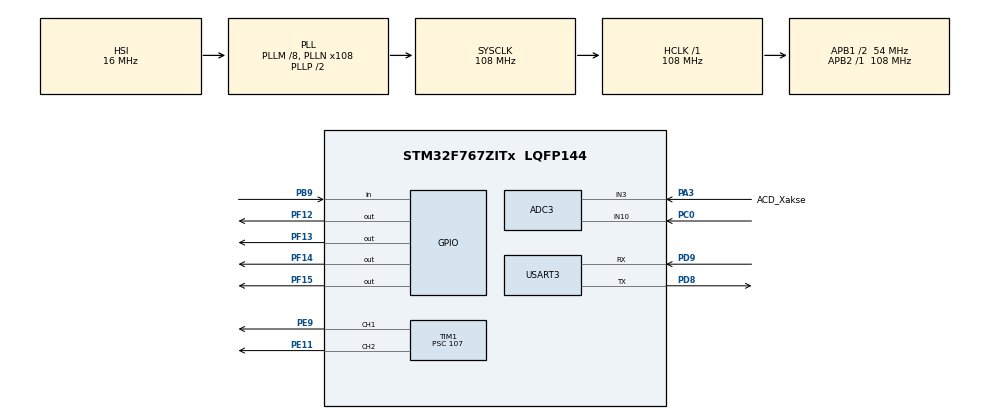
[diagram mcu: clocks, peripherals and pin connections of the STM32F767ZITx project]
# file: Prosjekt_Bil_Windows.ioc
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ADC3.Channel-0\#ChannelRegularConversion=ADC_CHANNEL_10
ADC3.Channel-1\#ChannelRegularConversion=ADC_CHANNEL_3
ADC3.NbrOfConversion=2
ADC3.NbrOfConversionFlag=1
ADC3.Rank-0\#ChannelRegularConversion=1
ADC3.Rank-1\#ChannelRegularConversion=2
ADC3.SamplingTime-0\#ChannelRegularConversion=ADC_SAMPLETIME_56CYCLES
ADC3.SamplingTime-1\#ChannelRegularConversion=ADC_SAMPLETIME_56CYCLES
ADC3.ScanConvMode=ADC_SCAN_ENABLE
Mcu.Family=STM32F7
Mcu.Name=STM32F767ZITx
Mcu.Package=LQFP144
NVIC.PriorityGroup=NVIC_PRIORITYGROUP_4
PA3.GPIO_Label=ACD_Xakse
PA3.Signal=ADCx_IN3
PB9.Signal=GPIO_Input
PC0.Signal=ADCx_IN10
PD8.Mode=Asynchronous
PD8.Signal=USART3_TX
PD9.Mode=Asynchronous
PD9.Signal=USART3_RX
PE11.Signal=S_TIM1_CH2
PE9.Signal=S_TIM1_CH1
PF12.Signal=GPIO_Output
PF13.Signal=GPIO_Output
PF14.Signal=GPIO_Output
PF15.Signal=GPIO_Output
PH0/OSC_IN.Mode=HSE-External-Oscillator
PH0/OSC_IN.Signal=RCC_OSC_IN
PH1/OSC_OUT.Mode=HSE-External-Oscillator
PH1/OSC_OUT.Signal=RCC_OSC_OUT
ProjectManager.HeapSize=0x200
ProjectManager.StackSize=0x400
ProjectManager.TargetToolchain=STM32CubeIDE
RCC.48MHZClocksFreq_Value=24000000
RCC.AHBFreq_Value=108000000
RCC.APB1CLKDivider=RCC_HCLK_DIV2
RCC.APB1Freq_Value=54000000
RCC.APB1TimFreq_Value=108000000
RCC.APB2Freq_Value=108000000
RCC.APB2TimFreq_Value=108000000
RCC.CortexFreq_Value=108000000
RCC.HCLKFreq_Value=108000000
RCC.HSE_VALUE=8000000
RCC.HSI_VALUE=16000000
RCC.LSE_VALUE=32768
RCC.PLLM=8
RCC.PLLMUL=RCC_PLL_MUL9
RCC.PLLN=108
RCC.PRESCALERUSB=RCC_USBCLKSOURCE_PLL_DIV1_5
RCC.SYSCLKFreq_VALUE=108000000
RCC.SYSCLKSource=RCC_SYSCLKSOURCE_PLLCLK
RCC.SYSCLKSourceVirtual=RCC_SYSCLKSOURCE_PLLCLK
RCC.USBFreq_Value=108000000
RCC.VCOOutputFreq_Value=216000000
SH.ADCx_IN10.0=ADC3_IN10,IN10
SH.ADCx_IN3.0=ADC3_IN3,IN3
SH.S_TIM1_CH1.0=TIM1_CH1,PWM Generation1 CH1
SH.S_TIM1_CH2.0=TIM1_CH2,PWM Generation2 CH2
TIM1.Channel-PWM\ Generation1\ CH1=TIM_CHANNEL_1
TIM1.Channel-PWM\ Generation2\ CH2=TIM_CHANNEL_2
TIM1.Period=19999
TIM1.Prescaler=107
USART3.VirtualMode-Asynchronous=VM_ASYNC
VP_TIM1_VS_ClockSourceINT.Mode=Internal
board=NUCLEO-F767ZI

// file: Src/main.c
/* USER CODE BEGIN Header */
/**
  ******************************************************************************
  * @file           : main.c
  * @brief          : Main program body
  ******************************************************************************
  * @attention
  *
  * Copyright (c) 2026 STMicroelectronics.
  * All rights reserved.
  *
  * This software is licensed under terms that can be found in the LICENSE file
  * in the root directory of this software component.
  * If no LICENSE file comes with this software, it is provided AS-IS.
  *
  ******************************************************************************
  */
/* USER CODE END Header */
#include "main.h"

/* USER CODE BEGIN PTD */

typedef enum {
 MOTOR_STATE_STOP = 0, // Explicitly set to 0
 MOTOR_STATE_FORWARD,       // Defaults to 1
 MOTOR_STATE_BACKWARD       // Defaults to 2
  } MotorState_t;

/* USER CODE END PTD */

/* USER CODE BEGIN PD */

  #define ADC_MAX_VALUE       4095   // 12|-bit ADC has a max value of 4095
  #define PWM_PERIOD_VALUE    19999     // TIM1 ARR is set to 19999
  #define MAX_DUTY 50000

/* USER CODE END PD */

ADC_HandleTypeDef hadc3;

TIM_HandleTypeDef htim1;

UART_HandleTypeDef huart3;

/* USER CODE BEGIN PV */

  uint16_t adc_value_yakse = 0;
  uint16_t adc_value_xakse = 0;
  int32_t x = 0;
  int32_t y = 0;
  int32_t turn = 0;
  uint32_t base_speed = 25000; // Base speed for the motors, can be adjusted as needed

  MotorState_t current_motor_state = MOTOR_STATE_STOP; // Initial state

/* USER CODE END PV */

void SystemClock_Config(void);
static void MX_GPIO_Init(void);
static void MX_USART3_UART_Init(void);
static void MX_ADC3_Init(void);
static void MX_TIM1_Init(void);
static void Set_Motor(GPIO_TypeDef *port, uint16_t pin_fram, uint16_t pin_tilbake, uint32_t pwm_channel, int32_t verdi);

int main(void)
{

  /* MCU Configuration--------------------------------------------------------*/

  /* Reset of all peripherals, Initializes the Flash interface and the Systick. */
  HAL_Init();

  /* Configure the system clock */
  SystemClock_Config();

  /* Initialize all configured peripherals */
  MX_GPIO_Init();
  MX_USART3_UART_Init();
  MX_ADC3_Init();
  MX_TIM1_Init();
  /* USER CODE BEGIN 2 */

  HAL_TIM_PWM_Start(&htim1, TIM_CHANNEL_1); //Output til venstre
  HAL_TIM_PWM_Start(&htim1, TIM_CHANNEL_2); //Output til høyre

  /* USER CODE END 2 */

  /* Infinite loop */
  /* USER CODE BEGIN WHILE */
  while (1)
  {

   /*
      Tanken her er at potensiometer Joy-sticken gir to ulike ADC verdier, en for X-aksen og en for Y-aksen. Disse verdiene kan brukes til å styre PWM signalene som går til motorene.
      Potensiometeret vil gi en verdi mellom 0 og 4095 (Hvis det er en 12 bit ADC):
      Verdier over 2048 (I x-aksen) vil derfor gi en fremover bevegelse, og under vil gi en bakoverbevegelse.
      For å få en smooth overgang mellom fremover og bakover, kan man bruke en "deadzone" rundt midtpunktet (2048). Dette betyr at hvis verdien er mellom 1900 og 2200, vil motorene ikke bevege seg
      For å regne ut svinging ser man på y-akse ADC verdien. Hvis denne er over 2048, vil roboten svinge til høyre, og under 2048 vil den svinge til venstre. Igjen kan man bruke en deadzone for å unngå små bevegelser.

      Dette vil regnes ut med å ha en relativ hastighet basert på y-aksen på hvert hjul.
      For simplisitetens skyld, har man en konstant hastighet ved fremover/bakover, og så justerer man hastigheten på hvert hjul basert på y-aksen. Dette kan gjøres med en enkel formel:
      left_motor_speed = base_speed + (y_value - 2048) / 2048

    */
    /* USER CODE END WHILE */

    /* USER CODE BEGIN 3 */

    HAL_ADC_Start(&hadc3);

    HAL_ADC_PollForConversion(&hadc3, HAL_MAX_DELAY);
    adc_value_yakse = HAL_ADC_GetValue(&hadc3);

    HAL_ADC_PollForConversion(&hadc3, HAL_MAX_DELAY);
    adc_value_xakse = HAL_ADC_GetValue(&hadc3);

    //Setter Midt på joysticken som midtepunkt for PWM signalene
    x = adc_value_xakse - 2048;
    y = adc_value_yakse - 2048;

    turn = adc_value_yakse - 2048;

    int32_t fram = x;
    int32_t sving = y;

    //Dead zone
    if (fram > -200 && fram < 200) fram = 0;
    if (sving > -200 && sving < 200) sving = 0;

    int32_t venstre = fram + sving;
    int32_t hoyre = fram - sving;

    Set_Motor(GPIOF, GPIO_PIN_13, GPIO_PIN_12, TIM_CHANNEL_1, venstre);
    Set_Motor(GPIOF, GPIO_PIN_14, GPIO_PIN_15, TIM_CHANNEL_2, hoyre);

    /*switch(current_motor_state){

      //PF13 => venstre retning 1
      //PF12 => venstre retning 2
      //PF14 => høyre retning 1
      //PF15 => høyre retning 2

      //Retning 1 => fremover, Retning 2 => bakover

      case MOTOR_STATE_STOP:

       if( x > 200){

             current_motor_state = MOTOR_STATE_FORWARD; // Change to forward state
           } else if (x < -200){
             current_motor_state = MOTOR_STATE_BACKWARD; // Change to backward state
           }
           break;

        HAL_GPIO_WritePin(GPIOF, GPIO_PIN_13, GPIO_PIN_RESET);
        HAL_GPIO_WritePin(GPIOF, GPIO_PIN_12, GPIO_PIN_RESET);
        HAL_GPIO_WritePin(GPIOF, GPIO_PIN_14, GPIO_PIN_RESET);
        HAL_GPIO_WritePin(GPIOF, GPIO_PIN_15, GPIO_PIN_RESET);

        __HAL_TIM_SET_COMPARE(&htim1, TIM_CHANNEL_1, 0);
        __HAL_TIM_SET_COMPARE(&htim1, TIM_CHANNEL_2, 0);
        break;

      case MOTOR_STATE_FORWARD:

        //Fremover med svinging til høyre
        if( x > 200 && y > 200){

          HAL_GPIO_WritePin(GPIOF, GPIO_PIN_13, GPIO_PIN_SET);
          HAL_GPIO_WritePin(GPIOF, GPIO_PIN_12, GPIO_PIN_RESET);
          HAL_GPIO_WritePin(GPIOF, GPIO_PIN_14, GPIO_PIN_SET);
          HAL_GPIO_WritePin(GPIOF, GPIO_PIN_15, GPIO_PIN_RESET);

          __HAL_TIM_SET_COMPARE(&htim1, TIM_CHANNEL_1, base_speed + turn); // Venstre hjul
          __HAL_TIM_SET_COMPARE(&htim1, TIM_CHANNEL_2, base_speed - turn); // Høyre hjul

        }

        //fremover med svinging til venstre
        else if (x > 200 && y < -200){
          HAL_GPIO_WritePin(GPIOF, GPIO_PIN_13, GPIO_PIN_SET);
          HAL_GPIO_WritePin(GPIOF, GPIO_PIN_12, GPIO_PIN_RESET);
          HAL_GPIO_WritePin(GPIOF, GPIO_PIN_14, GPIO_PIN_SET);
          HAL_GPIO_WritePin(GPIOF, GPIO_PIN_15, GPIO_PIN_RESET);

          __HAL_TIM_SET_COMPARE(&htim1, TIM_CHANNEL_1, base_speed - turn); // Venstre hjul
          __HAL_TIM_SET_COMPARE(&htim1, TIM_CHANNEL_2, base_speed + turn); // Høyre hjul
        }

        //Fremover uten svinging
        else if (x > 200 && y <= 200 && y >= -200){
          HAL_GPIO_WritePin(GPIOF, GPIO_PIN_13, GPIO_PIN_SET);
          HAL_GPIO_WritePin(GPIOF, GPIO_PIN_12, GPIO_PIN_RESET);
          HAL_GPIO_WritePin(GPIOF, GPIO_PIN_14, GPIO_PIN_SET);
          HAL_GPIO_WritePin(GPIOF, GPIO_PIN_15, GPIO_PIN_RESET);

          __HAL_TIM_SET_COMPARE(&htim1, TIM_CHANNEL_1, base_speed ); // Venstre hjul
          __HAL_TIM_SET_COMPARE(&htim1, TIM_CHANNEL_2, base_speed ); // Høyre hjul
        }

       else if (x < 200 && y < 200 && x > -200 && y > -200){
        current_motor_state = MOTOR_STATE_STOP;
        break;
       }

      break;

      case MOTOR_STATE_BACKWARD:

        if (x < 200 && y < 200 && x > -200 && y > -200){
         current_motor_state = MOTOR_STATE_STOP;
         break;
        }

        HAL_GPIO_WritePin(GPIOF, GPIO_PIN_13, GPIO_PIN_RESET);
        HAL_GPIO_WritePin(GPIOF, GPIO_PIN_12, GPIO_PIN_SET);
        HAL_GPIO_WritePin(GPIOF, GPIO_PIN_14, GPIO_PIN_RESET);
        HAL_GPIO_WritePin(GPIOF, GPIO_PIN_15, GPIO_PIN_SET);

        __HAL_TIM_SET_COMPARE(&htim1, TIM_CHANNEL_1, base_speed ); // Venstre hjul
        __HAL_TIM_SET_COMPARE(&htim1, TIM_CHANNEL_2, base_speed ); // Høyre hjul
      break;

    }*/
  }

  /* USER CODE END 3 */
}

void SystemClock_Config(void)
{
  RCC_OscInitTypeDef RCC_OscInitStruct = {0};
  RCC_ClkInitTypeDef RCC_ClkInitStruct = {0};

  /** Configure the main internal regulator output voltage
  */
  __HAL_RCC_PWR_CLK_ENABLE();
  __HAL_PWR_VOLTAGESCALING_CONFIG(PWR_REGULATOR_VOLTAGE_SCALE3);

  /** Initializes the RCC Oscillators according to the specified parameters
  * in the RCC_OscInitTypeDef structure.
  */
  RCC_OscInitStruct.OscillatorType = RCC_OSCILLATORTYPE_HSI;
  RCC_OscInitStruct.HSIState = RCC_HSI_ON;
  RCC_OscInitStruct.HSICalibrationValue = RCC_HSICALIBRATION_DEFAULT;
  RCC_OscInitStruct.PLL.PLLState = RCC_PLL_ON;
  RCC_OscInitStruct.PLL.PLLSource = RCC_PLLSOURCE_HSI;
  RCC_OscInitStruct.PLL.PLLM = 8;
  RCC_OscInitStruct.PLL.PLLN = 108;
  RCC_OscInitStruct.PLL.PLLP = RCC_PLLP_DIV2;
  RCC_OscInitStruct.PLL.PLLQ = 2;
  RCC_OscInitStruct.PLL.PLLR = 2;
  if (HAL_RCC_OscConfig(&RCC_OscInitStruct) != HAL_OK)
  {
    Error_Handler();
  }

  /** Activate the Over-Drive mode
  */
  if (HAL_PWREx_EnableOverDrive() != HAL_OK)
  {
    Error_Handler();
  }

  /** Initializes the CPU, AHB and APB buses clocks
  */
  RCC_ClkInitStruct.ClockType = RCC_CLOCKTYPE_HCLK|RCC_CLOCKTYPE_SYSCLK
                              |RCC_CLOCKTYPE_PCLK1|RCC_CLOCKTYPE_PCLK2;
  RCC_ClkInitStruct.SYSCLKSource = RCC_SYSCLKSOURCE_PLLCLK;
  RCC_ClkInitStruct.AHBCLKDivider = RCC_SYSCLK_DIV1;
  RCC_ClkInitStruct.APB1CLKDivider = RCC_HCLK_DIV2;
  RCC_ClkInitStruct.APB2CLKDivider = RCC_HCLK_DIV1;

  if (HAL_RCC_ClockConfig(&RCC_ClkInitStruct, FLASH_LATENCY_3) != HAL_OK)
  {
    Error_Handler();
  }
}

static void MX_ADC3_Init(void)
{

  ADC_ChannelConfTypeDef sConfig = {0};

  /** Configure the global features of the ADC (Clock, Resolution, Data Alignment and number of conversion)
  */
  hadc3.Instance = ADC3;
  hadc3.Init.ClockPrescaler = ADC_CLOCK_SYNC_PCLK_DIV4;
  hadc3.Init.Resolution = ADC_RESOLUTION_12B;
  hadc3.Init.ScanConvMode = ADC_SCAN_ENABLE;
  hadc3.Init.ContinuousConvMode = DISABLE;
  hadc3.Init.DiscontinuousConvMode = DISABLE;
  hadc3.Init.ExternalTrigConvEdge = ADC_EXTERNALTRIGCONVEDGE_NONE;
  hadc3.Init.ExternalTrigConv = ADC_SOFTWARE_START;
  hadc3.Init.DataAlign = ADC_DATAALIGN_RIGHT;
  hadc3.Init.NbrOfConversion = 2;
  hadc3.Init.DMAContinuousRequests = DISABLE;
  hadc3.Init.EOCSelection = ADC_EOC_SINGLE_CONV;
  if (HAL_ADC_Init(&hadc3) != HAL_OK)
  {
    Error_Handler();
  }

  /** Configure for the selected ADC regular channel its corresponding rank in the sequencer and its sample time.
  */
  sConfig.Channel = ADC_CHANNEL_10;
  sConfig.Rank = ADC_REGULAR_RANK_1;
  sConfig.SamplingTime = ADC_SAMPLETIME_56CYCLES;
  if (HAL_ADC_ConfigChannel(&hadc3, &sConfig) != HAL_OK)
  {
    Error_Handler();
  }

  /** Configure for the selected ADC regular channel its corresponding rank in the sequencer and its sample time.
  */
  sConfig.Channel = ADC_CHANNEL_3;
  sConfig.Rank = ADC_REGULAR_RANK_2;
  if (HAL_ADC_ConfigChannel(&hadc3, &sConfig) != HAL_OK)
  {
    Error_Handler();
  }

}

static void MX_TIM1_Init(void)
{

  TIM_ClockConfigTypeDef sClockSourceConfig = {0};
  TIM_MasterConfigTypeDef sMasterConfig = {0};
  TIM_OC_InitTypeDef sConfigOC = {0};
  TIM_BreakDeadTimeConfigTypeDef sBreakDeadTimeConfig = {0};

  htim1.Instance = TIM1;
  htim1.Init.Prescaler = 0;
  htim1.Init.CounterMode = TIM_COUNTERMODE_UP;
  htim1.Init.Period = 65535;
  htim1.Init.ClockDivision = TIM_CLOCKDIVISION_DIV1;
  htim1.Init.RepetitionCounter = 0;
  htim1.Init.AutoReloadPreload = TIM_AUTORELOAD_PRELOAD_DISABLE;
  if (HAL_TIM_Base_Init(&htim1) != HAL_OK)
  {
    Error_Handler();
  }
  sClockSourceConfig.ClockSource = TIM_CLOCKSOURCE_INTERNAL;
  if (HAL_TIM_ConfigClockSource(&htim1, &sClockSourceConfig) != HAL_OK)
  {
    Error_Handler();
  }
  if (HAL_TIM_PWM_Init(&htim1) != HAL_OK)
  {
    Error_Handler();
  }
  sMasterConfig.MasterOutputTrigger = TIM_TRGO_RESET;
  sMasterConfig.MasterOutputTrigger2 = TIM_TRGO2_RESET;
  sMasterConfig.MasterSlaveMode = TIM_MASTERSLAVEMODE_DISABLE;
  if (HAL_TIMEx_MasterConfigSynchronization(&htim1, &sMasterConfig) != HAL_OK)
  {
    Error_Handler();
  }
  sConfigOC.OCMode = TIM_OCMODE_PWM1;
  sConfigOC.Pulse = 0;
  sConfigOC.OCPolarity = TIM_OCPOLARITY_HIGH;
  sConfigOC.OCNPolarity = TIM_OCNPOLARITY_HIGH;
  sConfigOC.OCFastMode = TIM_OCFAST_DISABLE;
  sConfigOC.OCIdleState = TIM_OCIDLESTATE_RESET;
  sConfigOC.OCNIdleState = TIM_OCNIDLESTATE_RESET;
  if (HAL_TIM_PWM_ConfigChannel(&htim1, &sConfigOC, TIM_CHANNEL_1) != HAL_OK)
  {
    Error_Handler();
  }
  if (HAL_TIM_PWM_ConfigChannel(&htim1, &sConfigOC, TIM_CHANNEL_2) != HAL_OK)
  {
    Error_Handler();
  }
  sBreakDeadTimeConfig.OffStateRunMode = TIM_OSSR_DISABLE;
  sBreakDeadTimeConfig.OffStateIDLEMode = TIM_OSSI_DISABLE;
  sBreakDeadTimeConfig.LockLevel = TIM_LOCKLEVEL_OFF;
  sBreakDeadTimeConfig.DeadTime = 0;
  sBreakDeadTimeConfig.BreakState = TIM_BREAK_DISABLE;
  sBreakDeadTimeConfig.BreakPolarity = TIM_BREAKPOLARITY_HIGH;
  sBreakDeadTimeConfig.BreakFilter = 0;
  sBreakDeadTimeConfig.Break2State = TIM_BREAK2_DISABLE;
  sBreakDeadTimeConfig.Break2Polarity = TIM_BREAK2POLARITY_HIGH;
  sBreakDeadTimeConfig.Break2Filter = 0;
  sBreakDeadTimeConfig.AutomaticOutput = TIM_AUTOMATICOUTPUT_DISABLE;
  if (HAL_TIMEx_ConfigBreakDeadTime(&htim1, &sBreakDeadTimeConfig) != HAL_OK)
  {
    Error_Handler();
  }
  HAL_TIM_MspPostInit(&htim1);

}

static void MX_USART3_UART_Init(void)
{

  huart3.Instance = USART3;
  huart3.Init.BaudRate = 115200;
  huart3.Init.WordLength = UART_WORDLENGTH_8B;
  huart3.Init.StopBits = UART_STOPBITS_1;
  huart3.Init.Parity = UART_PARITY_NONE;
  huart3.Init.Mode = UART_MODE_TX_RX;
  huart3.Init.HwFlowCtl = UART_HWCONTROL_NONE;
  huart3.Init.OverSampling = UART_OVERSAMPLING_16;
  huart3.Init.OneBitSampling = UART_ONE_BIT_SAMPLE_DISABLE;
  huart3.AdvancedInit.AdvFeatureInit = UART_ADVFEATURE_NO_INIT;
  if (HAL_UART_Init(&huart3) != HAL_OK)
  {
    Error_Handler();
  }

}

static void MX_GPIO_Init(void)
{
  GPIO_InitTypeDef GPIO_InitStruct = {0};

  /* GPIO Ports Clock Enable */
  __HAL_RCC_GPIOH_CLK_ENABLE();
  __HAL_RCC_GPIOC_CLK_ENABLE();
  __HAL_RCC_GPIOA_CLK_ENABLE();
  __HAL_RCC_GPIOF_CLK_ENABLE();
  __HAL_RCC_GPIOE_CLK_ENABLE();
  __HAL_RCC_GPIOD_CLK_ENABLE();
  __HAL_RCC_GPIOB_CLK_ENABLE();

  /*Configure GPIO pin Output Level */
  HAL_GPIO_WritePin(GPIOF, GPIO_PIN_12|GPIO_PIN_13|GPIO_PIN_14|GPIO_PIN_15, GPIO_PIN_RESET);

  /*Configure GPIO pins : PF12 PF13 PF14 PF15 */
  GPIO_InitStruct.Pin = GPIO_PIN_12|GPIO_PIN_13|GPIO_PIN_14|GPIO_PIN_15;
  GPIO_InitStruct.Mode = GPIO_MODE_OUTPUT_PP;
  GPIO_InitStruct.Pull = GPIO_NOPULL;
  GPIO_InitStruct.Speed = GPIO_SPEED_FREQ_LOW;
  HAL_GPIO_Init(GPIOF, &GPIO_InitStruct);

  /*Configure GPIO pin : PB9 */
  GPIO_InitStruct.Pin = GPIO_PIN_9;
  GPIO_InitStruct.Mode = GPIO_MODE_INPUT;
  GPIO_InitStruct.Pull = GPIO_PULLUP;
  HAL_GPIO_Init(GPIOB, &GPIO_InitStruct);

}

/* USER CODE BEGIN 4 */

static void Set_Motor(GPIO_TypeDef *port, uint16_t pin_fram, uint16_t pin_tilbake, uint32_t pwm_channel, int32_t verdi){

 if (verdi > 0){
  HAL_GPIO_WritePin(port, pin_fram, GPIO_PIN_SET);
  HAL_GPIO_WritePin(port, pin_tilbake, GPIO_PIN_RESET);
 } else if (verdi < 0){
  HAL_GPIO_WritePin(port, pin_fram, GPIO_PIN_RESET);
  HAL_GPIO_WritePin(port, pin_tilbake, GPIO_PIN_SET);
  verdi = -verdi;
 } else {
  HAL_GPIO_WritePin(port, pin_fram, GPIO_PIN_RESET);
  HAL_GPIO_WritePin(port, pin_tilbake, GPIO_PIN_RESET);
 }

 uint32_t duty = (uint32_t)verdi * MAX_DUTY / 2048;
 if (duty > MAX_DUTY) duty = MAX_DUTY;
 __HAL_TIM_SET_COMPARE(&htim1, pwm_channel, duty);
}

/* USER CODE END 4 */

void Error_Handler(void)
{
  __disable_irq();
  while (1)
  {
  }
}
